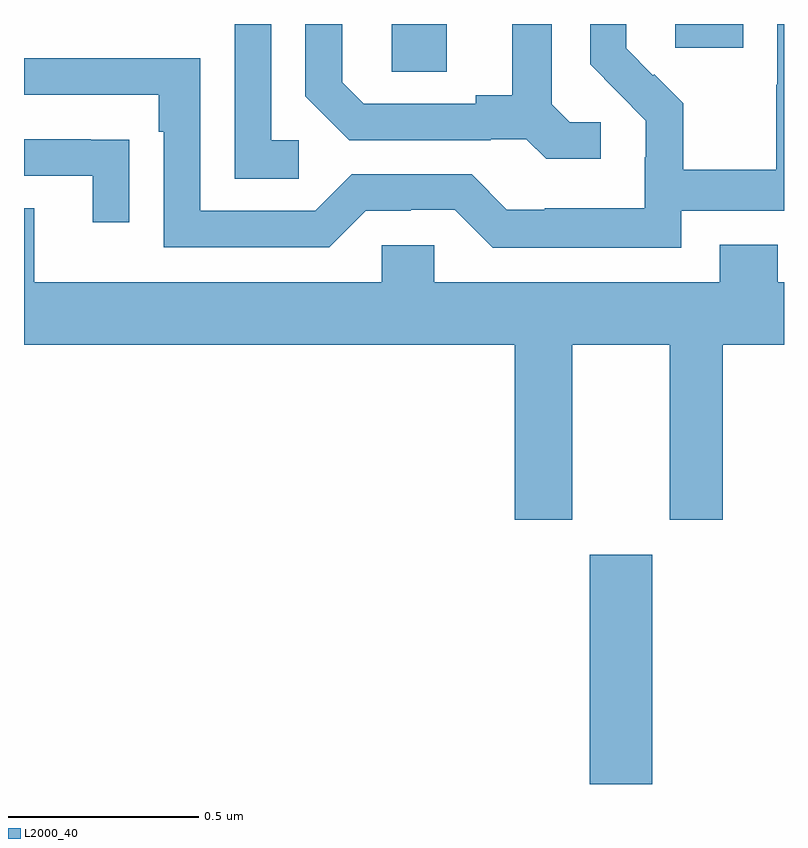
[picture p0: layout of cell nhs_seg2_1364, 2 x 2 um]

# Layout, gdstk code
import gdstk
lib = gdstk.Library(unit=1e-6, precision=1e-09)
def R(c, l, rs):  # rectangles x0, y0, x1, y1
    for r in rs: c.add(gdstk.rectangle(r[:2], r[2:], *l))
def P(c, l, *ps):  # polygons
    for p in ps: c.add(gdstk.Polygon(p, *l))
L2000_40 = (2000, 40)

nhs_seg2_1364 = lib.new_cell('nhs_seg2_1364')
R(nhs_seg2_1364, L2000_40, [(128.489,659.8,128.653,660.403), (127.968,661.675,128.113,661.8), (128.714,661.737,128.893,661.8)])
P(nhs_seg2_1364, L2000_40, [(128.518,661.542),(128.436,661.542),(128.389,661.589),(128.389,661.8),(128.285,661.8),(128.285,661.613),(128.189,661.613),(128.189,661.59),(127.894,661.59),(127.837,661.647),(127.837,661.8),(127.74,661.8),(127.74,661.61),(127.856,661.494),(128.228,661.494),(128.228,661.497),(128.322,661.497),(128.374,661.445),(128.518,661.445)],
  [(127.723,661.494),(127.65,661.494),(127.65,661.8),(127.554,661.8),(127.554,661.393),(127.723,661.393)],
  [(128.73,661.308),(129,661.308),(129,661.8),(128.982,661.8),(128.982,661.64),(128.98,661.64),(128.98,661.417),(128.735,661.417),(128.735,661.591),(128.658,661.668),(128.655,661.665),(128.585,661.736),(128.585,661.8),(128.49,661.8),(128.49,661.694),(128.563,661.621),(128.562,661.62),(128.636,661.546),(128.636,661.449),(128.634,661.449),(128.634,661.315),(128.371,661.315),(128.371,661.311),(128.271,661.311),(128.178,661.404),(127.863,661.404),(127.767,661.308),(127.464,661.308),(127.464,661.71),(127,661.71),(127,661.614),(127.355,661.614),(127.355,661.517),(127.368,661.517),(127.368,661.212),(127.803,661.212),(127.899,661.308),(128.018,661.308),(128.018,661.311),(128.133,661.311),(128.233,661.211),(128.73,661.211)],
  [(127.277,661.496),(127.175,661.496),(127.175,661.497),(127,661.497),(127,661.401),(127.181,661.401),(127.181,661.278),(127.277,661.278)],
  [(128.443,660.956),(128.699,660.956),(128.699,660.495),(128.839,660.495),(128.839,660.956),(129,660.956),(129,661.12),(128.983,661.12),(128.983,661.219),(128.831,661.219),(128.831,661.12),(128.079,661.12),(128.079,661.218),(127.941,661.218),(127.941,661.12),(127.027,661.12),(127.027,661.315),(127,661.315),(127,660.956),(128.291,660.956),(128.291,660.495),(128.443,660.495)])

lib.write_gds('nhs_seg2_1364.gds')
